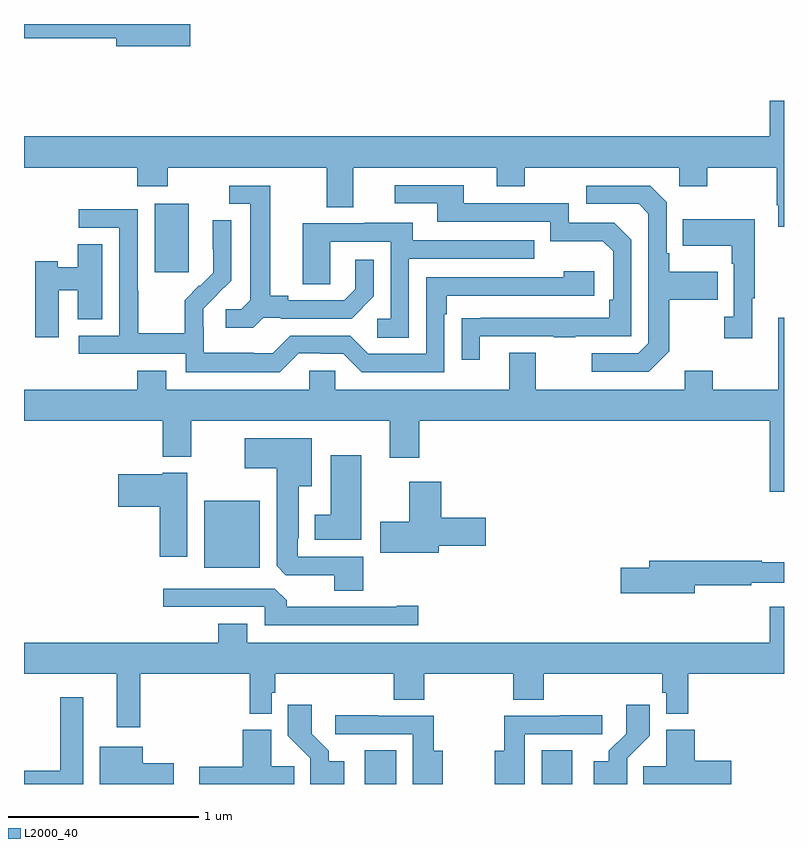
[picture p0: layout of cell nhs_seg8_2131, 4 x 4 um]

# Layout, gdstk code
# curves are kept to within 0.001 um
import gdstk
lib = gdstk.Library(unit=1e-6, precision=1e-09)
def R(c, l, rs):  # rectangles x0, y0, x1, y1
    for r in rs: c.add(gdstk.rectangle(r[:2], r[2:], *l))
def P(c, l, *ps):  # polygons
    for p in ps: c.add(gdstk.Polygon(p, *l))
L2000_40 = (2000, 40)

nhs_seg8_2131 = lib.new_cell('nhs_seg8_2131')
R(nhs_seg8_2131, L2000_40, [(246.794,1135.9,246.958,1136.078), (247.724,1135.9,247.885,1136.077), (245.948,1137.038,246.241,1137.391), (245.687,1138.593,245.866,1138.954)])
P(nhs_seg8_2131, L2000_40, [(245.875,1139.9),(245,1139.9),(245,1139.824),(245.486,1139.824),(245.486,1139.782),(245.875,1139.782)],
  [(245,1139.144),(245.597,1139.144),(245.597,1139.045),(245.757,1139.045),(245.757,1139.144),(246.593,1139.144),(246.593,1138.936),(246.733,1138.936),(246.733,1139.144),(247.487,1139.144),(247.487,1139.045),(247.635,1139.045),(247.635,1139.144),(248.448,1139.144),(248.448,1139.045),(248.595,1139.045),(248.595,1139.144),(248.962,1139.144),(248.962,1138.945),(248.969,1138.945),(248.969,1138.833),(249,1138.833),(249,1139.497),(248.924,1139.497),(248.924,1139.308),(245,1139.308)],
  [(247.399,1138.257),(247.789,1138.257),(247.789,1138.252),(247.901,1138.252),(247.901,1138.257),(248.196,1138.257),(248.196,1138.764),(248.106,1138.854),(247.866,1138.854),(247.866,1138.956),(247.315,1138.956),(247.315,1139.052),(246.951,1139.052),(246.951,1138.956),(247.175,1138.956),(247.175,1138.86),(247.77,1138.86),(247.77,1138.757),(248.047,1138.757),(248.1,1138.704),(248.1,1138.45),(248.08,1138.45),(248.08,1138.353),(247.303,1138.352),(247.303,1138.134),(247.399,1138.134)],
  [(248.395,1138.177),(248.395,1138.45),(248.651,1138.45),(248.651,1138.597),(248.395,1138.597),(248.395,1138.693),(248.382,1138.693),(248.382,1138.962),(248.295,1139.049),(247.959,1139.049),(247.959,1138.953),(248.235,1138.953),(248.286,1138.902),(248.286,1138.221),(248.232,1138.167),(247.989,1138.167),(247.989,1138.071),(248.289,1138.071)],
  [(246.258,1138.353),(246.352,1138.353),(246.352,1138.35),(246.724,1138.35),(246.84,1138.466),(246.84,1138.66),(246.743,1138.66),(246.743,1138.503),(246.686,1138.446),(246.391,1138.446),(246.391,1138.469),(246.295,1138.469),(246.295,1139.049),(246.081,1139.049),(246.081,1138.953),(246.191,1138.953),(246.191,1138.445),(246.144,1138.398),(246.063,1138.398),(246.063,1138.301),(246.206,1138.301)],
  [(246.447,1138.167),(246.563,1138.167),(246.563,1138.164),(246.681,1138.164),(246.777,1138.068),(247.212,1138.068),(247.212,1138.373),(247.225,1138.373),(247.225,1138.47),(248.002,1138.47),(248.002,1138.6),(247.841,1138.6),(247.841,1138.566),(247.116,1138.566),(247.116,1138.164),(246.813,1138.164),(246.717,1138.26),(246.402,1138.26),(246.309,1138.167),(246.209,1138.167),(246.209,1138.171),(245.946,1138.171),(245.946,1138.305),(245.944,1138.305),(245.944,1138.402),(246.09,1138.55),(246.09,1138.868),(245.994,1138.868),(245.994,1138.714),(245.996,1138.714),(245.996,1138.592),(245.925,1138.521),(245.922,1138.524),(245.845,1138.447),(245.845,1138.273),(245.601,1138.273),(245.601,1138.496),(245.598,1138.496),(245.598,1138.926),(245.289,1138.926),(245.289,1138.827),(245.502,1138.827),(245.502,1138.26),(245.289,1138.26),(245.289,1138.164),(245.85,1138.164),(245.85,1138.067),(246.347,1138.067)],
  [(248.833,1138.457),(248.845,1138.457),(248.845,1138.873),(248.467,1138.873),(248.467,1138.733),(248.724,1138.733),(248.724,1138.637),(248.736,1138.637),(248.736,1138.358),(248.685,1138.358),(248.685,1138.245),(248.833,1138.245)],
  [(247.026,1138.665),(247.685,1138.665),(247.685,1138.761),(247.045,1138.761),(247.045,1138.855),(246.791,1138.855),(246.791,1138.851),(246.467,1138.851),(246.467,1138.531),(246.612,1138.531),(246.612,1138.755),(246.93,1138.755),(246.93,1138.35),(246.858,1138.35),(246.858,1138.249),(247.026,1138.249)],
  [(245.182,1138.499),(245.282,1138.499),(245.282,1138.345),(245.413,1138.345),(245.413,1138.742),(245.282,1138.742),(245.282,1138.621),(245.178,1138.621),(245.178,1138.652),(245.06,1138.652),(245.06,1138.251),(245.182,1138.251)],
  [(249,1138.354),(248.969,1138.354),(248.969,1137.976),(248.625,1137.976),(248.625,1138.075),(248.477,1138.075),(248.477,1137.976),(247.693,1137.976),(247.693,1138.171),(247.553,1138.171),(247.553,1137.976),(246.639,1137.976),(246.639,1138.074),(246.501,1138.074),(246.501,1137.976),(245.749,1137.976),(245.749,1138.075),(245.597,1138.075),(245.597,1137.976),(245,1137.976),(245,1137.812),(245.729,1137.812),(245.729,1137.623),(245.881,1137.623),(245.881,1137.812),(246.926,1137.812),(246.926,1137.618),(247.079,1137.618),(247.079,1137.812),(248.924,1137.812),(248.924,1137.438),(249,1137.438)],
  [(246.785,1137.096),(246.441,1137.096),(246.441,1137.193),(246.445,1137.193),(246.445,1137.467),(246.514,1137.467),(246.514,1137.721),(246.162,1137.721),(246.162,1137.563),(246.329,1137.563),(246.329,1137.049),(246.378,1137),(246.632,1137),(246.632,1136.917),(246.785,1136.917)],
  [(246.775,1137.631),(246.614,1137.631),(246.614,1137.316),(246.53,1137.316),(246.53,1137.185),(246.775,1137.185)],
  [(245.86,1137.538),(245.73,1137.538),(245.73,1137.529),(245.496,1137.529),(245.496,1137.359),(245.714,1137.359),(245.714,1137.096),(245.86,1137.096)],
  [(247.183,1137.155),(247.429,1137.155),(247.429,1137.302),(247.196,1137.302),(247.196,1137.49),(247.028,1137.49),(247.028,1137.279),(246.876,1137.279),(246.876,1137.116),(247.183,1137.116)],
  [(248.53,1136.946),(248.828,1136.946),(248.828,1136.958),(249,1136.958),(249,1137.067),(248.882,1137.067),(248.882,1137.074),(248.291,1137.074),(248.291,1137.038),(248.142,1137.038),(248.142,1136.903),(248.53,1136.903)],
  [(247.075,1136.837),(246.962,1136.837),(246.962,1136.832),(246.383,1136.832),(246.383,1136.866),(246.321,1136.928),(245.733,1136.928),(245.733,1136.832),(246.267,1136.832),(246.267,1136.736),(247.075,1136.736)],
  [(246.175,1136.743),(246.023,1136.743),(246.023,1136.644),(245,1136.644),(245,1136.48),(245.489,1136.48),(245.489,1136.199),(245.611,1136.199),(245.611,1136.48),(246.187,1136.48),(246.187,1136.27),(246.303,1136.27),(246.303,1136.379),(246.323,1136.379),(246.323,1136.48),(246.947,1136.48),(246.947,1136.344),(247.107,1136.344),(247.107,1136.48),(247.576,1136.48),(247.576,1136.344),(247.736,1136.344),(247.736,1136.48),(248.359,1136.48),(248.359,1136.379),(248.379,1136.379),(248.379,1136.27),(248.495,1136.27),(248.495,1136.48),(249,1136.48),(249,1136.833),(248.924,1136.833),(248.924,1136.644),(246.175,1136.644)],
  [(245.311,1136.356),(245.19,1136.356),(245.19,1135.97),(245,1135.97),(245,1135.9),(245.311,1135.9)],
  [(248.175,1136.035),(248.294,1136.154),(248.294,1136.317),(248.169,1136.317),(248.169,1136.165),(248.078,1136.075),(248.078,1136.02),(247.998,1136.02),(247.998,1135.9),(248.175,1135.9)],
  [(246.685,1136.02),(246.604,1136.02),(246.604,1136.075),(246.514,1136.165),(246.514,1136.317),(246.388,1136.317),(246.388,1136.154),(246.507,1136.035),(246.507,1135.9),(246.685,1135.9)],
  [(247.636,1136.163),(248.044,1136.163),(248.044,1136.262),(247.819,1136.262),(247.819,1136.259),(247.527,1136.259),(247.527,1136.074),(247.478,1136.074),(247.478,1135.9),(247.636,1135.9)],
  [(247.204,1136.074),(247.156,1136.074),(247.156,1136.259),(246.863,1136.259),(246.863,1136.262),(246.639,1136.262),(246.639,1136.163),(247.046,1136.163),(247.046,1135.9),(247.204,1135.9)],
  [(246.422,1135.994),(246.301,1135.994),(246.301,1136.185),(246.152,1136.185),(246.152,1135.991),(245.922,1135.991),(245.922,1135.9),(246.422,1135.9)],
  [(248.722,1136.022),(248.531,1136.022),(248.531,1136.185),(248.381,1136.185),(248.381,1135.994),(248.26,1135.994),(248.26,1135.9),(248.722,1135.9)],
  [(245.788,1136.01),(245.626,1136.01),(245.626,1136.095),(245.399,1136.095),(245.399,1135.9),(245.788,1135.9)])

lib.write_gds('nhs_seg8_2131.gds')
